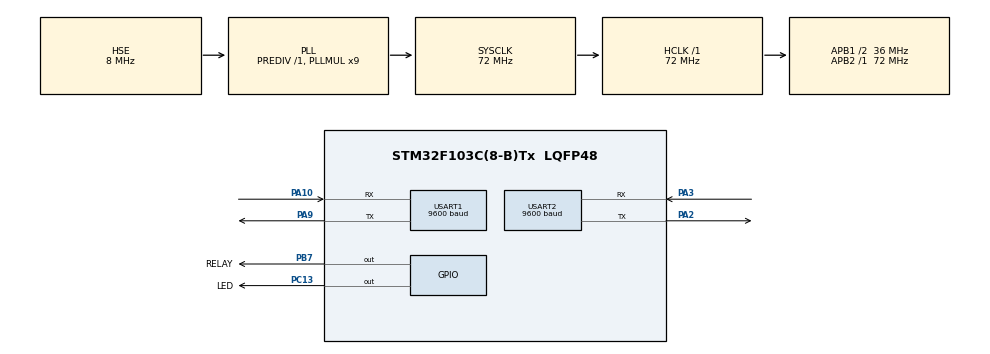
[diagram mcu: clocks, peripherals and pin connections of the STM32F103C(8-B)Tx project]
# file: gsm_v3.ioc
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Mcu.Family=STM32F1
Mcu.Name=STM32F103C(8-B)Tx
Mcu.Package=LQFP48
NVIC.PriorityGroup=NVIC_PRIORITYGROUP_4
NVIC.TIM4_IRQn=true\:7\:0\:true\:false\:true\:true\:true
NVIC.USART1_IRQn=true\:6\:0\:true\:false\:true\:true\:true
NVIC.USART2_IRQn=true\:5\:0\:true\:false\:true\:true\:true
PA10.Mode=Asynchronous
PA10.Signal=USART1_RX
PA13.Mode=Serial_Wire
PA13.Signal=SYS_JTMS-SWDIO
PA14.Mode=Serial_Wire
PA14.Signal=SYS_JTCK-SWCLK
PA2.Mode=Asynchronous
PA2.Signal=USART2_TX
PA3.Mode=Asynchronous
PA3.Signal=USART2_RX
PA9.Mode=Asynchronous
PA9.Signal=USART1_TX
PB7.GPIO_Label=RELAY
PB7.Signal=GPIO_Output
PC13-TAMPER-RTC.GPIO_Label=LED
PC13-TAMPER-RTC.Signal=GPIO_Output
PD0-OSC_IN.Mode=HSE-External-Oscillator
PD0-OSC_IN.Signal=RCC_OSC_IN
PD1-OSC_OUT.Mode=HSE-External-Oscillator
PD1-OSC_OUT.Signal=RCC_OSC_OUT
ProjectManager.HeapSize=0x200
ProjectManager.StackSize=0x400
ProjectManager.TargetToolchain=STM32CubeIDE
RCC.AHBFreq_Value=72000000
RCC.APB1CLKDivider=RCC_HCLK_DIV2
RCC.APB1Freq_Value=36000000
RCC.APB1TimFreq_Value=72000000
RCC.APB2Freq_Value=72000000
RCC.APB2TimFreq_Value=72000000
RCC.HCLKFreq_Value=72000000
RCC.PLLMUL=RCC_PLL_MUL9
RCC.PLLSourceVirtual=RCC_PLLSOURCE_HSE
RCC.SYSCLKFreq_VALUE=72000000
RCC.SYSCLKSource=RCC_SYSCLKSOURCE_PLLCLK
RCC.USBFreq_Value=72000000
TIM4.Period=9999
TIM4.Prescaler=7199
USART1.BaudRate=9600
USART1.VirtualMode=VM_ASYNC
USART2.BaudRate=9600
USART2.VirtualMode=VM_ASYNC
VP_TIM4_VS_ClockSourceINT.Mode=Internal
board=custom

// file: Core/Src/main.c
/* USER CODE BEGIN Header */
/**
  ******************************************************************************
  * @file           : main.c
  * @brief          : Main program body
  ******************************************************************************
  * @attention
  *
  * <h2><center>&copy; Copyright (c) 2020 STMicroelectronics.
  * All rights reserved.</center></h2>
  *
  * This software component is licensed by ST under BSD 3-Clause license,
  * the "License"; You may not use this file except in compliance with the
  * License. You may obtain a copy of the License at:
  *                        opensource.org/licenses/BSD-3-Clause
  *
  ******************************************************************************
  */
/* USER CODE END Header */

#include "main.h"
#include "tim.h"
#include "usart.h"
#include "gpio.h"
#include "usart_ring.h"
#include "gsm.h"

volatile uint8_t flag = 0;

static void clear_string(char *src)
{
	char *dst = NULL;
	if(!src) return;
	uint8_t i = 0;

	for(dst = src; *src; src++)
	{
		if(i < 2 && (*src == '\n' || *src == '\r'))
		{
			i++;
			continue;
		}
		else if(*src == '\n' || *src == '\r') *src = ' ';

		*dst++ = *src;
	}

	*dst = 0;
}

///////////////////// колбек таймера //////////////////////
void HAL_TIM_PeriodElapsedCallback(TIM_HandleTypeDef *htim)
{
	if(htim->Instance == TIM4)
	{
		flag = 1;
	}
}

void SystemClock_Config(void);

int main(void)
{

  /* MCU Configuration--------------------------------------------------------*/

  /* Reset of all peripherals, Initializes the Flash interface and the Systick. */
  HAL_Init();

  /* Configure the system clock */
  SystemClock_Config();

  /* Initialize all configured peripherals */
  MX_GPIO_Init();
  MX_USART1_UART_Init();
  MX_USART2_UART_Init();
  MX_TIM4_Init();
  HAL_Delay(15000); // задержка чтоб модем успел раздуплиться, если его включение происходит вместе с включением МК

    __HAL_UART_ENABLE_IT(GSM, UART_IT_RXNE);
    __HAL_UART_ENABLE_IT(DEBUG, UART_IT_RXNE);

    set_comand(ATCPAS);  // проверка статуса модема
      set_comand(ATCREG);  // проверка регистрации в сети - должен вернуть  +CREG: 0,1
      set_comand(ATCLIP1); // включить АОН
      set_comand(ATE);     // отключить «эхо»
      set_comand(ATS);     // поднимать трубку только "вручную"
      set_comand(ATDDET);  // включить DTMF
      //set_comand(ATCCLKK); // установить дату/время

      /////////////////// настройки для работы с sms ////////////////
      set_comand(ATCMGF);    // устанавливает текстовый режим смс-сообщения
      set_comand(ATCPBS);    // открывает доступ к данным телефонной книги SIM-карты
      set_comand(ATCSCS);    // кодировка текста - GSM
      set_comand(ATCNMI);    // настройка вывода смс в консоль

      //////////////////// различная инфа /////////////////////
      set_comand(ATIPR);       // скорость usart'a модема
      set_comand(ATI);         // название и версия модуля
      set_comand(ATCGSN);      // считывание IMEI из EEPROM
      set_comand(ATCSPN);      // оператор сети

      HAL_TIM_Base_Start_IT(&htim4);

      char buf[GSM_RX_BUFFER_SIZE] = {0,};
      char str[GSM_RX_BUFFER_SIZE] = {0,};

  /* Infinite loop */
  /* USER CODE BEGIN WHILE */
//      HAL_GPIO_WritePin(LED_GPIO_Port, LED_Pin, GPIO_PIN_RESET);
//      HAL_Delay(1000);
//      HAL_GPIO_WritePin(LED_GPIO_Port, LED_Pin,GPIO_PIN_SET);
  while (1)
  {
    /* USER CODE END WHILE */
	  HAL_GPIO_TogglePin(LED_GPIO_Port, LED_Pin);
	  HAL_Delay(50);
    /* USER CODE BEGIN 3 */
	  if(flag == 1)
	  	{
	  		flag = 0;
	  		//get_date_time(); // будет раз в секунду выводить время
	  	}

	  	if(gsm_available()) //если модуль что-то прислал
	  	{
	  		uint16_t i = 0;
	  		uint8_t fdbg = 1;
	  		memset(buf, 0, GSM_RX_BUFFER_SIZE);
	  		HAL_Delay(50);

	  		while(gsm_available())
	  		{
	  			buf[i++] = gsm_read();
	  			if(i > GSM_RX_BUFFER_SIZE - 1) break;
	  			HAL_Delay(1);
	  		}

	  		clear_string(buf); // очищаем строку от символов \r и \n

	  		/////////////////// НАЧИНАЕМ РАСПОЗНАВАТЬ ЧТО ПРИСЛАЛ МОДУЛЬ /////////////////////
	  		if(strstr(buf, "RING") != NULL) // ЕСЛИ ЭТО ЗВОНОК
	  		{
	  			if(strstr(buf, "+375") != NULL) // если звонит нужный номер
	  			{
	  				// что-то делаем
	  				HAL_UART_Transmit(DEBUG, (uint8_t*)"My number\n", strlen("My number\n"), 1000);
	  				//incoming_call(); // можно принять звонок

	  				HAL_GPIO_WritePin(RELAY_GPIO_Port, RELAY_Pin, GPIO_PIN_SET);
	  				disable_connection(); // сброс соединения
	  				HAL_Delay(3000);
	  				HAL_GPIO_WritePin(RELAY_GPIO_Port, RELAY_Pin, GPIO_PIN_RESET);
	  					  				  				  			  				HAL_GPIO_WritePin(LED_GPIO_Port, LED_Pin, GPIO_PIN_RESET);
	  					  				  				  			  				HAL_Delay(2000);

	  			}
	  			else
	  			{
	  				HAL_UART_Transmit(DEBUG, (uint8_t*)"Unknow number\n", strlen("Unknow number\n"), 1000);
	  				disable_connection(); // сброс соединения
	  			}
	  		}
	  		else if(strstr(buf, "+CMT:") != NULL) // ЕСЛИ ЭТО SMS
	  		{
	  			if(strstr(buf, "+375") != NULL) // проверяем от кого смс
	  			{
	  				HAL_UART_Transmit(DEBUG, (uint8_t*)"Sms my number\n", strlen("Sms my number\n"), 1000);

	  				// что-то делаем или ищем какую-то строку, которую мы послали в смс, например слово "Hello"
	  				if(strstr(buf, "Hello") != NULL)
	  				{
	  					HAL_UART_Transmit(DEBUG, (uint8_t*)"Reciv Hello\n", strlen("Reciv Hello\n"), 1000);
	  					// что-то делаем

	  				}
	  				else if(strstr(buf, "Call") != NULL) // если прилетело слово "Call" то звоним
	  				{
	  					//call(); // номер указать в файле gsm.c
	  				}
	  				else if(strstr(buf, "Money") != NULL) // если отпрвить sms со словом "Money", то в ответ придёт смс с балансом (деньги) на модеме
	  				{
	  					balance(); // посылаем команду узнать баланс
	  				}
	  				else if(strstr(buf, "RRR") != NULL) // если отпрвить sms со словом "RRR"
	  				{
	  					HAL_GPIO_WritePin(RELAY_GPIO_Port, RELAY_Pin, GPIO_PIN_SET);
	  					HAL_GPIO_WritePin(LED_GPIO_Port, LED_Pin, GPIO_PIN_SET);
	  					HAL_Delay(7000);
	  					HAL_GPIO_WritePin(RELAY_GPIO_Port, RELAY_Pin, GPIO_PIN_RESET);
	  					HAL_GPIO_WritePin(LED_GPIO_Port, LED_Pin, GPIO_PIN_RESET);

	  					//call();

	  				}
	  			}
	  			else
	  			{
	  				HAL_UART_Transmit(DEBUG, (uint8_t*)"Unknown number sms\n", strlen("Unknow number sms\n"), 1000);
	  				HAL_GPIO_TogglePin(LED_GPIO_Port, LED_Pin);//1
	  					  				HAL_Delay(200);
	  					  				HAL_GPIO_TogglePin(LED_GPIO_Port, LED_Pin);
	  					  				HAL_Delay(200);
	  					  				HAL_GPIO_TogglePin(LED_GPIO_Port, LED_Pin);//2
	  					  				HAL_Delay(200);
	  					  				HAL_GPIO_TogglePin(LED_GPIO_Port, LED_Pin);
	  					  				HAL_Delay(1000);
	  			}
	  		}
	  		else if(strstr(buf, "+CUSD") != NULL)  // ЕСЛИ ЭТО СТРОКА С БАЛАНСОМ
	  		{
	  			char *p = NULL;

	  			if((p = strstr(buf, "Balance")) != NULL) // ищем слово "Balance"
	  			{
	  				// отправляем смс с балансом на указанный телефон, укажите нужный номер и раскомментируйте этот блок
	  				snprintf(str, GSM_RX_BUFFER_SIZE, "AT+CMGS=\"+375336675442\"\r\n"); // номер
	  				HAL_UART_Transmit(GSM, (uint8_t*)str, strlen(str), 1000);
	  				HAL_Delay(100);
	  				snprintf(str, GSM_RX_BUFFER_SIZE, "%s", p); // текст смс
	  				HAL_UART_Transmit(GSM, (uint8_t*)str, strlen(str), 1000);
	  				p = 0;
	  				HAL_Delay(100);
	  				snprintf(str, GSM_RX_BUFFER_SIZE, "%c", (char)26); // символ ctrl-z
	  				HAL_UART_Transmit(GSM, (uint8_t*)str, strlen(str), 1000);
	  				// блок закомментирован чтоб модуль не слал смски пока тестируете
	  			}
	  		}
	  		else if(strstr(buf, "+DTMF") != NULL)  //ЕСЛИ ЭТО DTMF СИГНАЛ
	  		{
	  			if(strstr(buf, "0") != NULL) // если пришёл сигнал кнопки 0
	  			{
	  				// что-то делаем
	  				HAL_UART_Transmit(DEBUG, (uint8_t*)"DTMF Button 0\n", strlen("DTMF Button 0\n"), 1000);
	  			}
	  			else if(strstr(buf, "1") != NULL) // если пришёл сигнал кнопки 1
	  			{
	  				// что-то делаем
	  				HAL_UART_Transmit(DEBUG, (uint8_t*)"DTMF Button 1\n", strlen("DTMF Button 1\n"), 1000);
	  			}
	  			// и т.д.

	  			disable_connection(); // разрываем соединение, или не разрываем (в зависимости от того, что вам нужно)
	  		}
	  		else if(strstr(buf, "+CCLK") != NULL)  // ЕСЛИ ЭТО ДАТА/ВРЕМЯ
	  		{
	  			replac_string(buf);
	  			char res[32] = {0,};

	  			for(uint8_t i = 0; i < GSM_RX_BUFFER_SIZE; i++)
	  			{
	  				if(buf[i] == '"')
	  				{
	  					i++;
	  					for(uint8_t j = 0; j < 20; i++, j++)
	  					{
	  						if(buf[i] == '+')
	  						{
	  							buf[i] = 0;
	  							break;
	  						}

	  						if(buf[i] == ',') buf[i] = ' ';
	  						res[j] = buf[i];
	  					}

	  					break;
	  				}
	  			}

	  			snprintf(str, GSM_RX_BUFFER_SIZE, "DateTime %s\n", res);
	  			HAL_UART_Transmit(DEBUG, (uint8_t*)str, strlen(str), 1000);
	  			fdbg = 0;
	  		}

	  		if(fdbg)
	  		{
	  			snprintf(str, GSM_RX_BUFFER_SIZE, "%s\n", buf);
	  			HAL_UART_Transmit(DEBUG, (uint8_t*)str, strlen(str), 1000);
	  		}
	  	}

	  	////////////////////////////////////// DEBUG ////////////////////////////////////////
	  	if(dbg_available()) //если послали в терминал какую-то команду, то она перенаправиться в модем
	  	{
	  		uint16_t i = 0;
	  		memset(buf, 0, GSM_RX_BUFFER_SIZE);

	  		while(dbg_available())
	  		{
	  			buf[i++] = dbg_read();
	  			if(i > GSM_RX_BUFFER_SIZE - 1) break;
	  			HAL_Delay(1);
	  		}

	  		clear_string(buf);
	  		snprintf(str, GSM_RX_BUFFER_SIZE, "%s\r\n", buf);
	  		HAL_UART_Transmit(GSM, (uint8_t*)str, strlen(str), 1000);
	  	}

  }
  /* USER CODE END 3 */
}

void SystemClock_Config(void)
{
  RCC_OscInitTypeDef RCC_OscInitStruct = {0};
  RCC_ClkInitTypeDef RCC_ClkInitStruct = {0};

  /** Initializes the CPU, AHB and APB busses clocks
  */
  RCC_OscInitStruct.OscillatorType = RCC_OSCILLATORTYPE_HSE;
  RCC_OscInitStruct.HSEState = RCC_HSE_ON;
  RCC_OscInitStruct.HSEPredivValue = RCC_HSE_PREDIV_DIV1;
  RCC_OscInitStruct.HSIState = RCC_HSI_ON;
  RCC_OscInitStruct.PLL.PLLState = RCC_PLL_ON;
  RCC_OscInitStruct.PLL.PLLSource = RCC_PLLSOURCE_HSE;
  RCC_OscInitStruct.PLL.PLLMUL = RCC_PLL_MUL9;
  if (HAL_RCC_OscConfig(&RCC_OscInitStruct) != HAL_OK)
  {
    Error_Handler();
  }
  /** Initializes the CPU, AHB and APB busses clocks
  */
  RCC_ClkInitStruct.ClockType = RCC_CLOCKTYPE_HCLK|RCC_CLOCKTYPE_SYSCLK
                              |RCC_CLOCKTYPE_PCLK1|RCC_CLOCKTYPE_PCLK2;
  RCC_ClkInitStruct.SYSCLKSource = RCC_SYSCLKSOURCE_PLLCLK;
  RCC_ClkInitStruct.AHBCLKDivider = RCC_SYSCLK_DIV1;
  RCC_ClkInitStruct.APB1CLKDivider = RCC_HCLK_DIV2;
  RCC_ClkInitStruct.APB2CLKDivider = RCC_HCLK_DIV1;

  if (HAL_RCC_ClockConfig(&RCC_ClkInitStruct, FLASH_LATENCY_2) != HAL_OK)
  {
    Error_Handler();
  }
}

void Error_Handler(void)
{
}

/************************ (C) COPYRIGHT STMicroelectronics *****END OF FILE****/
